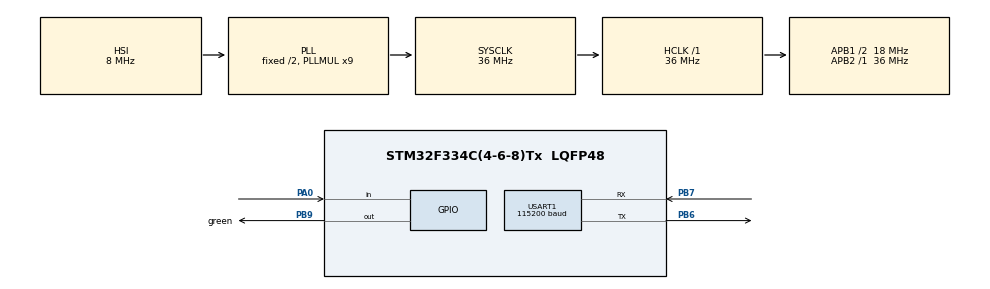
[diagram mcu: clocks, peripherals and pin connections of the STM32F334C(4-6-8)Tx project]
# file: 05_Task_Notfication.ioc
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FREERTOS.Tasks01=defaultTask,0,128,StartDefaultTask,Default,NULL,Dynamic,NULL,NULL
Mcu.Family=STM32F3
Mcu.Name=STM32F334C(4-6-8)Tx
Mcu.Package=LQFP48
NVIC.PriorityGroup=NVIC_PRIORITYGROUP_4
NVIC.TIM6_DAC1_IRQn=true\:15\:0\:false\:false\:true\:false\:false\:true\:true
NVIC.TimeBase=TIM6_DAC1_IRQn
NVIC.TimeBaseIP=TIM6
PA0.Signal=GPIO_Input
PB6.Mode=Asynchronous
PB6.Signal=USART1_TX
PB7.Mode=Asynchronous
PB7.Signal=USART1_RX
PB9.GPIO_Label=green
PB9.Signal=GPIO_Output
ProjectManager.HeapSize=0x200
ProjectManager.StackSize=0x400
ProjectManager.TargetToolchain=STM32CubeIDE
RCC.AHBFreq_Value=36000000
RCC.APB1CLKDivider=RCC_HCLK_DIV2
RCC.APB1Freq_Value=18000000
RCC.APB1TimFreq_Value=36000000
RCC.APB2Freq_Value=36000000
RCC.APB2TimFreq_Value=36000000
RCC.CortexFreq_Value=36000000
RCC.HCLKFreq_Value=36000000
RCC.HSE_VALUE=8000000
RCC.HSI_VALUE=8000000
RCC.LSE_VALUE=32768
RCC.PLLMUL=RCC_PLL_MUL9
RCC.SYSCLKFreq_VALUE=36000000
RCC.SYSCLKSourceVirtual=RCC_SYSCLKSOURCE_PLLCLK
USART1.BaudRate=115200
USART1.VirtualMode-Asynchronous=VM_ASYNC
VP_FREERTOS_VS_CMSIS_V1.Mode=CMSIS_V1
VP_SYS_VS_tim6.Mode=TIM6
board=STM32F3348-DISCO

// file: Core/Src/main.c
/* USER CODE BEGIN Header */
/**
  ******************************************************************************
  * @file           : main.c
  * @brief          : Main program body
  ******************************************************************************
  * @attention
  *
  * Copyright (c) 2023 STMicroelectronics.
  * All rights reserved.
  *
  * This software is licensed under terms that can be found in the LICENSE file
  * in the root directory of this software component.
  * If no LICENSE file comes with this software, it is provided AS-IS.
  *
  ******************************************************************************
  */
/* USER CODE END Header */
#include "main.h"

/* USER CODE BEGIN Includes */
#include "FreeRTOS.h"
#include "task.h"
#include "timers.h"
#include "queue.h"
#include "semphr.h"
#include "event_groups.h"
#include <string.h>
/* USER CODE END Includes */

UART_HandleTypeDef huart1;

/* USER CODE BEGIN PV */
uint8_t button_pressed = 0;
TaskHandle_t Task1_Handle=NULL,Task2_Handle = NULL;
/* USER CODE END PV */

void SystemClock_Config(void);
static void MX_GPIO_Init(void);
static void MX_USART1_UART_Init(void);

/* USER CODE BEGIN PFP */
void Task1_Handler(void *param);
void Task2_Handler(void *param);
void RTOS_Delay(uint16_t delay_in_ms);
/* USER CODE END PFP */

int main(void)
{

  /* MCU Configuration--------------------------------------------------------*/

  /* Reset of all peripherals, Initializes the Flash interface and the Systick. */
  HAL_Init();

  /* Configure the system clock */
  SystemClock_Config();

  /* Initialize all configured peripherals */
  MX_GPIO_Init();
  MX_USART1_UART_Init();

  /* USER CODE BEGIN RTOS_QUEUES */
  xTaskCreate(Task1_Handler, "button", 128, NULL, 2, &Task1_Handle);
  xTaskCreate(Task2_Handler, "led", 128, NULL, 2, &Task2_Handle);
  vTaskStartScheduler();
  /* USER CODE END RTOS_QUEUES */

  /* Create the thread(s) */

  /* Start scheduler */

  /* We should never get here as control is now taken by the scheduler */
  /* Infinite loop */
  while (1)
  {

  }
}

void SystemClock_Config(void)
{
  RCC_OscInitTypeDef RCC_OscInitStruct = {0};
  RCC_ClkInitTypeDef RCC_ClkInitStruct = {0};
  RCC_PeriphCLKInitTypeDef PeriphClkInit = {0};

  /** Initializes the RCC Oscillators according to the specified parameters
  * in the RCC_OscInitTypeDef structure.
  */
  RCC_OscInitStruct.OscillatorType = RCC_OSCILLATORTYPE_HSI;
  RCC_OscInitStruct.HSIState = RCC_HSI_ON;
  RCC_OscInitStruct.HSICalibrationValue = RCC_HSICALIBRATION_DEFAULT;
  RCC_OscInitStruct.PLL.PLLState = RCC_PLL_ON;
  RCC_OscInitStruct.PLL.PLLSource = RCC_PLLSOURCE_HSI;
  RCC_OscInitStruct.PLL.PLLMUL = RCC_PLL_MUL9;
  if (HAL_RCC_OscConfig(&RCC_OscInitStruct) != HAL_OK)
  {
    Error_Handler();
  }

  /** Initializes the CPU, AHB and APB buses clocks
  */
  RCC_ClkInitStruct.ClockType = RCC_CLOCKTYPE_HCLK|RCC_CLOCKTYPE_SYSCLK
                              |RCC_CLOCKTYPE_PCLK1|RCC_CLOCKTYPE_PCLK2;
  RCC_ClkInitStruct.SYSCLKSource = RCC_SYSCLKSOURCE_PLLCLK;
  RCC_ClkInitStruct.AHBCLKDivider = RCC_SYSCLK_DIV1;
  RCC_ClkInitStruct.APB1CLKDivider = RCC_HCLK_DIV2;
  RCC_ClkInitStruct.APB2CLKDivider = RCC_HCLK_DIV1;

  if (HAL_RCC_ClockConfig(&RCC_ClkInitStruct, FLASH_LATENCY_1) != HAL_OK)
  {
    Error_Handler();
  }
  PeriphClkInit.PeriphClockSelection = RCC_PERIPHCLK_USART1;
  PeriphClkInit.Usart1ClockSelection = RCC_USART1CLKSOURCE_PCLK1;
  if (HAL_RCCEx_PeriphCLKConfig(&PeriphClkInit) != HAL_OK)
  {
    Error_Handler();
  }
}

static void MX_USART1_UART_Init(void)
{

  huart1.Instance = USART1;
  huart1.Init.BaudRate = 115200;
  huart1.Init.WordLength = UART_WORDLENGTH_8B;
  huart1.Init.StopBits = UART_STOPBITS_1;
  huart1.Init.Parity = UART_PARITY_NONE;
  huart1.Init.Mode = UART_MODE_TX_RX;
  huart1.Init.HwFlowCtl = UART_HWCONTROL_NONE;
  huart1.Init.OverSampling = UART_OVERSAMPLING_16;
  huart1.Init.OneBitSampling = UART_ONE_BIT_SAMPLE_DISABLE;
  huart1.AdvancedInit.AdvFeatureInit = UART_ADVFEATURE_NO_INIT;
  if (HAL_UART_Init(&huart1) != HAL_OK)
  {
    Error_Handler();
  }

}

static void MX_GPIO_Init(void)
{
  GPIO_InitTypeDef GPIO_InitStruct = {0};

  /* GPIO Ports Clock Enable */
  __HAL_RCC_GPIOA_CLK_ENABLE();
  __HAL_RCC_GPIOB_CLK_ENABLE();

  /*Configure GPIO pin Output Level */
  HAL_GPIO_WritePin(green_GPIO_Port, green_Pin, GPIO_PIN_RESET);

  /*Configure GPIO pin : PA0 */
  GPIO_InitStruct.Pin = GPIO_PIN_0;
  GPIO_InitStruct.Mode = GPIO_MODE_INPUT;
  GPIO_InitStruct.Pull = GPIO_NOPULL;
  HAL_GPIO_Init(GPIOA, &GPIO_InitStruct);

  /*Configure GPIO pin : green_Pin */
  GPIO_InitStruct.Pin = green_Pin;
  GPIO_InitStruct.Mode = GPIO_MODE_OUTPUT_PP;
  GPIO_InitStruct.Pull = GPIO_NOPULL;
  GPIO_InitStruct.Speed = GPIO_SPEED_FREQ_LOW;
  HAL_GPIO_Init(green_GPIO_Port, &GPIO_InitStruct);

}

/* USER CODE BEGIN 4 */
void Task1_Handler(void *param)
{
	while(1)
	{
	if(HAL_GPIO_ReadPin(GPIOA, GPIO_PIN_0)==1)
	{
		RTOS_Delay(100);
		xTaskNotify(Task2_Handle,0x0,eNoAction);
	}
	}
}
void Task2_Handler(void *param)
{
	while(1)
	{
		if(xTaskNotifyWait(0, 0, NULL, portMAX_DELAY)==pdTRUE)
		{
			HAL_GPIO_TogglePin(green_GPIO_Port, green_Pin);
			HAL_UART_Transmit(&huart1, (uint8_t*)"Notification Received\r\n", sizeof("Notification Received\r\n")-1, HAL_MAX_DELAY);
		}

	}
}

void RTOS_Delay(uint16_t delay_in_ms)
{
	uint32_t current_tick_count = xTaskGetTickCount();

	uint32_t delay_in_ticks = (delay_in_ms * configTICK_RATE_HZ)/1000;

	while(xTaskGetTickCount() < (current_tick_count + delay_in_ticks));
}
/* USER CODE END 4 */

void HAL_TIM_PeriodElapsedCallback(TIM_HandleTypeDef *htim)
{
  if (htim->Instance == TIM6) {
    HAL_IncTick();
  }
}

void Error_Handler(void)
{
  __disable_irq();
  while (1)
  {
  }
}
